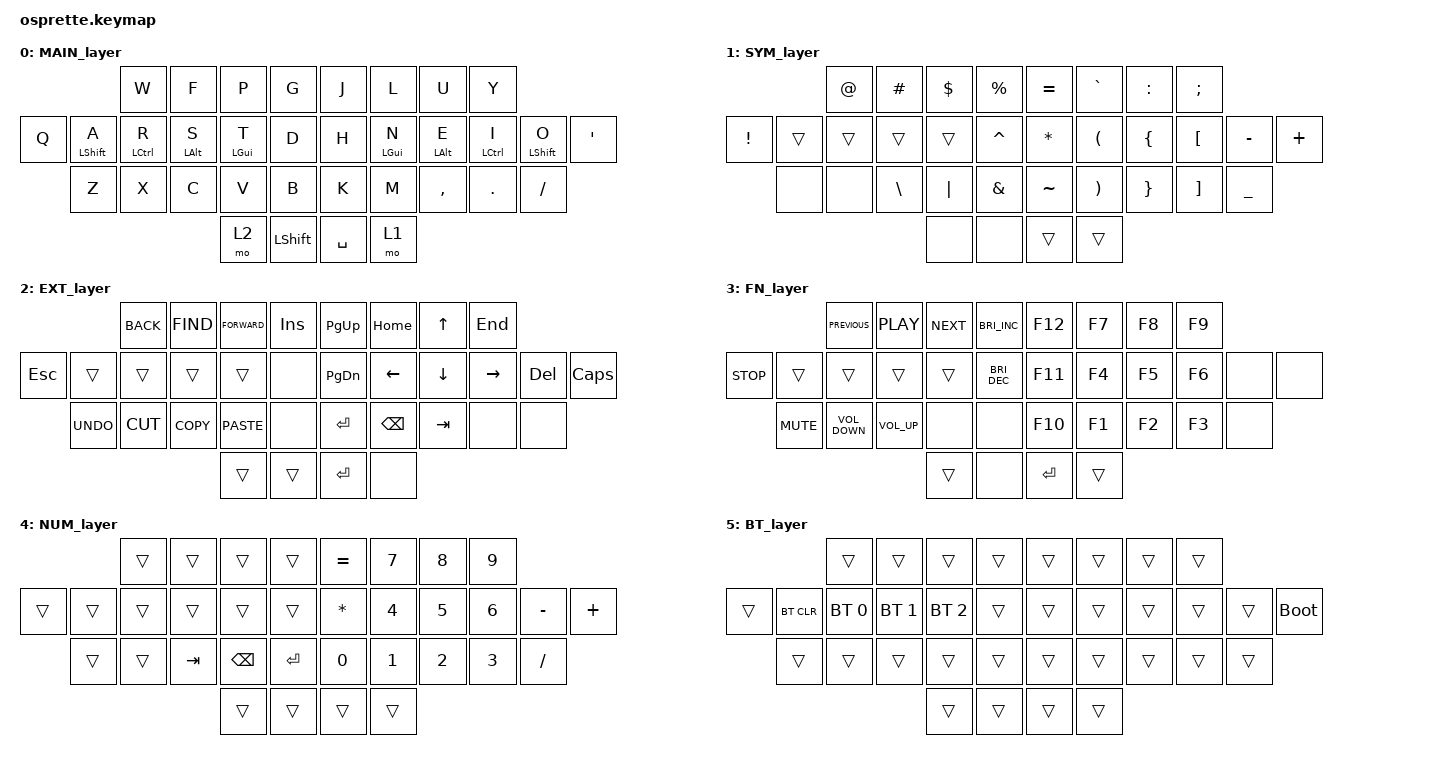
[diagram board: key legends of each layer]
/*
* Copyright (c) 2021 The ZMK Contributors
*
* SPDX-License-Identifier: MIT
*/

#include <behaviors.dtsi>
#include <dt-bindings/zmk/bt.h>
#include <dt-bindings/zmk/keys.h>

#define MAIN 0
#define SYM 1
#define NAV 2
#define BT 3

&mt {
    flavor = "tap-preferred";
    tapping_term_ms = <140>;
};

/ {
    combos {
        compatible = "zmk,combos";

        mo_FN {
            bindings = <&mo 3>;
            key-positions = <30 33>;
        };

        mo_NUM {
            bindings = <&mo 4>;
            key-positions = <31 33>;
        };

        mo_BT {
            bindings = <&mo 5>;
            key-positions = <32 30>;
        };
    };

    keymap {
        compatible = "zmk,keymap";

        MAIN_layer {
            bindings = <
                         &kp W        &kp F           &kp P           &kp G           &kp J      &kp L           &kp U           &kp Y
&kp Q  &mt LEFT_SHIFT A  &mt LCTRL R  &mt LEFT_ALT S  &mt LEFT_GUI T  &kp D           &kp H      &mt LEFT_GUI N  &mt LEFT_ALT E  &mt LEFT_CONTROL I  &mt LEFT_SHIFT O  &kp SQT
       &kp Z             &kp X        &kp C           &kp V           &kp B           &kp K      &kp M           &kp COMMA       &kp PERIOD          &kp SLASH
                                                      &mo 2           &kp LEFT_SHIFT  &kp SPACE  &mo 1
            >;
        };

        SYM_layer {
            bindings = <
                  &kp AT  &kp HASH       &kp DOLLAR  &kp PERCENT  &kp EQUAL  &kp GRAVE              &kp COLON        &kp SEMICOLON
&kp EXCL  &trans  &trans  &trans         &trans      &kp CARET    &kp STAR   &kp LEFT_PARENTHESIS   &kp LEFT_BRACE   &kp LEFT_BRACKET   &kp MINUS  &kp PLUS
          &none   &none   &kp BACKSLASH  &kp PIPE    &kp AMPS     &kp TILDE  &kp RIGHT_PARENTHESIS  &kp RIGHT_BRACE  &kp RIGHT_BRACKET  &kp UNDER
                                         &none       &none        &trans     &trans
            >;
        };

        EXT_layer {
            bindings = <
                     &kp K_BACK  &kp K_FIND  &kp K_FORWARD  &kp INS  &kp PAGE_UP    &kp HOME       &kp UP    &kp END
&kp ESC  &trans      &trans      &trans      &trans         &none    &kp PAGE_DOWN  &kp LEFT       &kp DOWN  &kp RIGHT  &kp DELETE  &kp CAPS
         &kp K_UNDO  &kp K_CUT   &kp K_COPY  &kp K_PASTE    &none    &kp ENTER      &kp BACKSPACE  &kp TAB   &none      &none
                                             &trans         &trans   &kp ENTER      &none
            >;
        };

        FN_layer {
            bindings = <
                        &kp C_PREVIOUS     &kp C_PLAY       &kp C_NEXT  &kp C_BRIGHTNESS_INC  &kp F12    &kp F7  &kp F8  &kp F9
&kp C_STOP  &trans      &trans             &trans           &trans      &kp C_BRIGHTNESS_DEC  &kp F11    &kp F4  &kp F5  &kp F6  &none  &none
            &kp C_MUTE  &kp C_VOLUME_DOWN  &kp C_VOLUME_UP  &none       &none                 &kp F10    &kp F1  &kp F2  &kp F3  &none
                                                            &trans      &none                 &kp ENTER  &trans
            >;
        };

        NUM_layer {
            bindings = <
                &trans  &trans   &trans    &trans   &kp EQUAL  &kp N7  &kp N8  &kp N9
&trans  &trans  &trans  &trans   &trans    &trans   &kp ASTRK  &kp N4  &kp N5  &kp N6  &kp MINUS  &kp PLUS
        &trans  &trans  &kp TAB  &kp BSPC  &kp RET  &kp N0     &kp N1  &kp N2  &kp N3  &kp FSLH
                                 &trans    &trans   &trans     &trans
            >;
        };

        BT_layer {
            bindings = <
                    &trans        &trans        &trans        &trans  &trans  &trans  &trans  &trans
&trans  &bt BT_CLR  &bt BT_SEL 0  &bt BT_SEL 1  &bt BT_SEL 2  &trans  &trans  &trans  &trans  &trans  &trans  &bootloader
        &trans      &trans        &trans        &trans        &trans  &trans  &trans  &trans  &trans  &trans
                                                &trans        &trans  &trans  &trans
            >;
        };
    };
};
